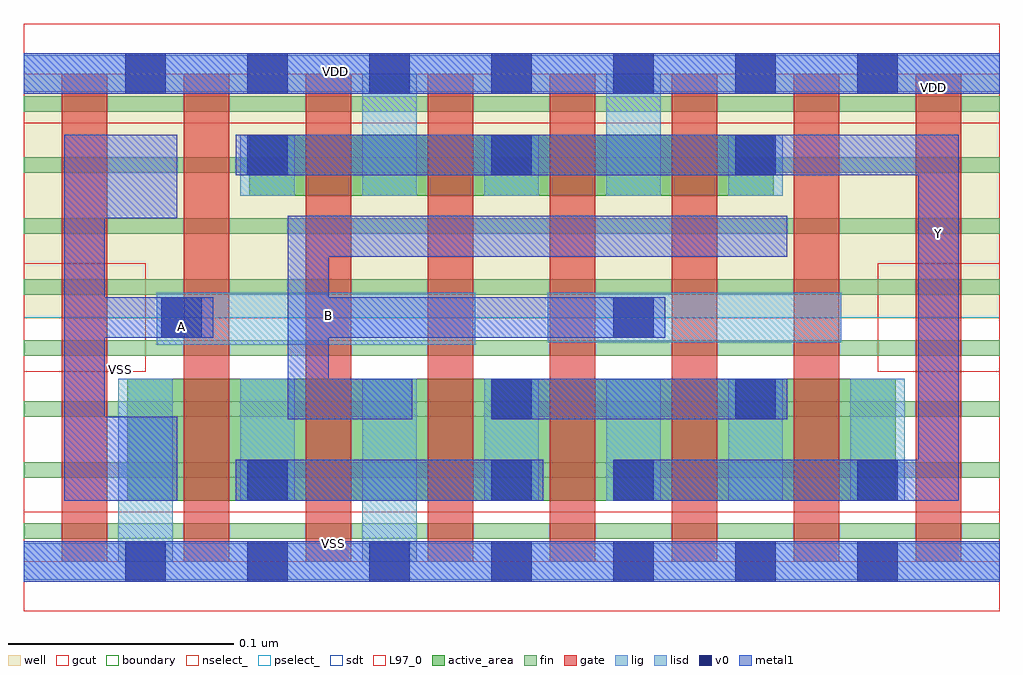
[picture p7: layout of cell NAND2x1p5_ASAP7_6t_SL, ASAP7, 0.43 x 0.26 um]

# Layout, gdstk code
import gdstk
lib = gdstk.Library(unit=1e-6, precision=2.5e-10)
def R(c, l, rs):  # rectangles x0, y0, x1, y1
    for r in rs: c.add(gdstk.rectangle(r[:2], r[2:], *l))
def A(c, l, x, y, w, h, nx, ny, dx, dy):  # array of equal rectangles
    R(c, l, [(x+i*dx, y+j*dy, x+i*dx+w, y+j*dy+h) for i in range(nx) for j in range(ny)])
def P(c, l, *ps):  # polygons
    for p in ps: c.add(gdstk.Polygon(p, *l))
well = (1, 0)
fin = (2, 0)
gate = (7, 0)
gcut = (10, 0)
active_area = (11, 0)
nselect_ = (12, 0)
pselect_ = (13, 0)
lig = (16, 0)
lisd = (17, 0)
v0 = (18, 0)
metal1 = (19, 0)
sdt = (88, 0)
L97_0 = (97, 0)
boundary = (100, 0)

nand2x1p5_asap7_6t_sl = lib.new_cell('NAND2x1p5_ASAP7_6t_SL')
R(nand2x1p5_asap7_6t_sl, well, [(0,0.108,0.432,0.216)])
A(nand2x1p5_asap7_6t_sl, fin, 0, 0.01, 0.432, 0.007, 1, 8, 0, 0.027)
A(nand2x1p5_asap7_6t_sl, gate, 0.017, 0, 0.02, 0.216, 8, 1, 0.054, 0)
R(nand2x1p5_asap7_6t_sl, gcut, [(0,-0.022,0.432,0.022), (0,0.084,0.054,0.132), (0.378,0.084,0.432,0.132), (0,0.194,0.432,0.238)])
R(nand2x1p5_asap7_6t_sl, active_area, [(0.046,0.027,0.386,0.081), (0.1,0.162,0.332,0.189)])
R(nand2x1p5_asap7_6t_sl, nselect_, [(0,0,0.432,0.108)])
R(nand2x1p5_asap7_6t_sl, pselect_, [(0,0.108,0.432,0.216)])
R(nand2x1p5_asap7_6t_sl, lig, [(0,-0.008,0.432,0.008), (0.059,0.096,0.2,0.119), (0.232,0.097,0.362,0.119), (0,0.208,0.432,0.224)])
A(nand2x1p5_asap7_6t_sl, lisd, 0.204, 0.027, 0.024, 0.054, 4, 1, 0.054, 0)
A(nand2x1p5_asap7_6t_sl, lisd, 0.096, 0.162, 0.024, 0.027, 3, 1, 0.108, 0)
R(nand2x1p5_asap7_6t_sl, lisd, [(0.042,0,0.066,0.081), (0.15,0,0.174,0.081), (0.096,0.027,0.12,0.081), (0.15,0.162,0.174,0.216), (0.258,0.162,0.282,0.216)])
A(nand2x1p5_asap7_6t_sl, v0, 0.045, -0.009, 0.018, 0.018, 7, 2, 0.054, 0.216)
A(nand2x1p5_asap7_6t_sl, v0, 0.099, 0.171, 0.018, 0.018, 3, 1, 0.108, 0)
R(nand2x1p5_asap7_6t_sl, v0, [(0.099,0.027,0.117,0.045), (0.207,0.027,0.225,0.045), (0.261,0.027,0.279,0.045), (0.369,0.027,0.387,0.045), (0.207,0.063,0.225,0.081), (0.315,0.063,0.333,0.081), (0.061,0.099,0.079,0.117), (0.261,0.099,0.279,0.117)])
R(nand2x1p5_asap7_6t_sl, metal1, [(0,-0.009,0.432,0.009), (0.094,0.027,0.23,0.045), (0.207,0.063,0.338,0.081), (0,0.207,0.432,0.225)])
P(nand2x1p5_asap7_6t_sl, metal1, [(0.414,0.189),(0.094,0.189),(0.094,0.171),(0.396,0.171),(0.396,0.045),(0.261,0.045),(0.261,0.027),(0.414,0.027)],
  [(0.284,0.117),(0.135,0.117),(0.135,0.135),(0.338,0.135),(0.338,0.153),(0.117,0.153),(0.117,0.063),(0.172,0.063),(0.172,0.081),(0.135,0.081),(0.135,0.099),(0.284,0.099)],
  [(0.084,0.117),(0.036,0.117),(0.036,0.152),(0.068,0.152),(0.068,0.189),(0.018,0.189),(0.018,0.027),(0.068,0.027),(0.068,0.064),(0.036,0.064),(0.036,0.099),(0.084,0.099)])
A(nand2x1p5_asap7_6t_sl, sdt, 0.042, 0.027, 0.024, 0.054, 7, 1, 0.054, 0)
A(nand2x1p5_asap7_6t_sl, sdt, 0.096, 0.162, 0.024, 0.027, 5, 1, 0.054, 0)
R(nand2x1p5_asap7_6t_sl, L97_0, [(0,0,0.432,0.216)])
R(nand2x1p5_asap7_6t_sl, boundary, [(0,0,0.432,0.216)])
nand2x1p5_asap7_6t_sl.add(gdstk.Label('A', (0.07,0.104), layer=19, texttype=251))
nand2x1p5_asap7_6t_sl.add(gdstk.Label('B', (0.135,0.109), layer=19, texttype=251))
nand2x1p5_asap7_6t_sl.add(gdstk.Label('Y', (0.405,0.145), layer=19, texttype=251))
nand2x1p5_asap7_6t_sl.add(gdstk.Label('VDD', (0.138,0.217), layer=19, texttype=251))
nand2x1p5_asap7_6t_sl.add(gdstk.Label('VSS', (0.137,0.008), layer=19, texttype=251))
nand2x1p5_asap7_6t_sl.add(gdstk.Label('VDD', (0.403,0.21), layer=1, texttype=251))
nand2x1p5_asap7_6t_sl.add(gdstk.Label('VSS', (0.043,0.085), layer=3, texttype=251))

lib.write_gds('NAND2x1p5_ASAP7_6t_SL.gds')
